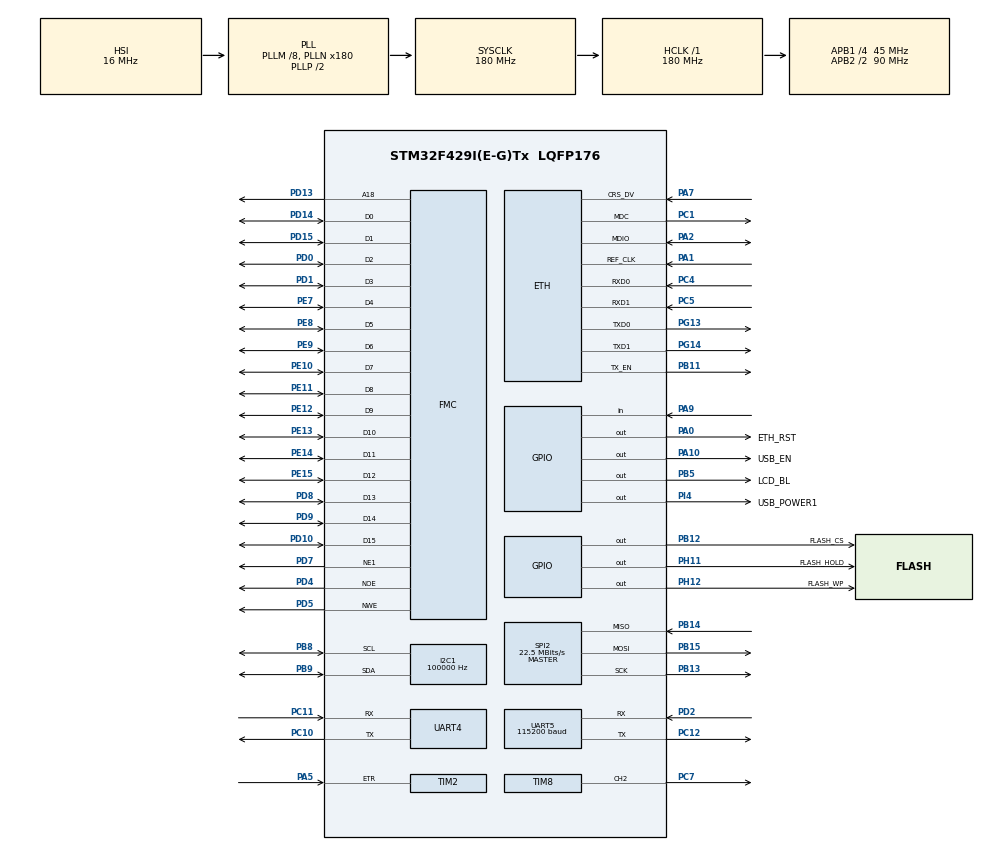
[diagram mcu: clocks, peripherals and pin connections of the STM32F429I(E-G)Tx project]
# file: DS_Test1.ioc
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Dma.Request0=SPI2_TX
Dma.Request1=SPI2_RX
Dma.Request2=TIM8_CH2
Dma.SPI2_RX.1.Direction=DMA_PERIPH_TO_MEMORY
Dma.SPI2_RX.1.FIFOMode=DMA_FIFOMODE_ENABLE
Dma.SPI2_RX.1.FIFOThreshold=DMA_FIFO_THRESHOLD_FULL
Dma.SPI2_RX.1.Instance=DMA1_Stream3
Dma.SPI2_RX.1.MemBurst=DMA_MBURST_SINGLE
Dma.SPI2_RX.1.MemDataAlignment=DMA_MDATAALIGN_BYTE
Dma.SPI2_RX.1.MemInc=DMA_MINC_ENABLE
Dma.SPI2_RX.1.Mode=DMA_NORMAL
Dma.SPI2_RX.1.PeriphBurst=DMA_PBURST_SINGLE
Dma.SPI2_RX.1.PeriphDataAlignment=DMA_PDATAALIGN_BYTE
Dma.SPI2_RX.1.PeriphInc=DMA_PINC_DISABLE
Dma.SPI2_RX.1.Priority=DMA_PRIORITY_VERY_HIGH
Dma.SPI2_TX.0.Direction=DMA_MEMORY_TO_PERIPH
Dma.SPI2_TX.0.FIFOMode=DMA_FIFOMODE_ENABLE
Dma.SPI2_TX.0.FIFOThreshold=DMA_FIFO_THRESHOLD_FULL
Dma.SPI2_TX.0.Instance=DMA1_Stream4
Dma.SPI2_TX.0.MemBurst=DMA_MBURST_SINGLE
Dma.SPI2_TX.0.MemDataAlignment=DMA_MDATAALIGN_BYTE
Dma.SPI2_TX.0.MemInc=DMA_MINC_ENABLE
Dma.SPI2_TX.0.Mode=DMA_NORMAL
Dma.SPI2_TX.0.PeriphBurst=DMA_PBURST_SINGLE
Dma.SPI2_TX.0.PeriphDataAlignment=DMA_PDATAALIGN_BYTE
Dma.SPI2_TX.0.PeriphInc=DMA_PINC_DISABLE
Dma.SPI2_TX.0.Priority=DMA_PRIORITY_VERY_HIGH
Dma.TIM8_CH2.2.Direction=DMA_MEMORY_TO_PERIPH
Dma.TIM8_CH2.2.FIFOMode=DMA_FIFOMODE_DISABLE
Dma.TIM8_CH2.2.Instance=DMA2_Stream3
Dma.TIM8_CH2.2.MemDataAlignment=DMA_MDATAALIGN_WORD
Dma.TIM8_CH2.2.MemInc=DMA_MINC_ENABLE
Dma.TIM8_CH2.2.Mode=DMA_CIRCULAR
Dma.TIM8_CH2.2.PeriphDataAlignment=DMA_PDATAALIGN_WORD
Dma.TIM8_CH2.2.PeriphInc=DMA_PINC_DISABLE
Dma.TIM8_CH2.2.Priority=DMA_PRIORITY_VERY_HIGH
ETH.MediaInterface=ETH_MEDIA_INTERFACE_RMII
ETH.PHY_DUPLEX_STATUS=0x0010
ETH.PHY_Name_RMII=userPHY
ETH.PHY_SPEED_STATUS=0x0004
ETH.PHY_SR=0x1F
ETH.PHY_User_Name=LAN8720A
ETH.PhyAddress=0
FMC.AddressSetupTime1=3
FMC.DataSetupTime1=5
FMC.ExtendedAddressSetupTime1=0
FMC.ExtendedDataSetupTime1=4
FMC.ExtendedMode1=FMC_EXTENDED_MODE_ENABLE
FREERTOS.Tasks01=defaultTask,24,1024,StartDefaultTask,Default,NULL,Dynamic,NULL,NULL;PingTask,8,1024,StartPingTask,Default,NULL,Dynamic,NULL,NULL;UartTask,8,1024,StartUartTask,Default,NULL,Dynamic,NULL,NULL;Flash_w25q,8,1024,StartFlash_w25q,Default,NULL,Dynamic,NULL,NULL;AT24C16Start,8,1024,StartAT24C16Start,Default,NULL,Dynamic,NULL,NULL
FREERTOS.configENABLE_FPU=0
FREERTOS.configTOTAL_HEAP_SIZE=125360
I2C1.ClockSpeed=100000
I2C1.I2C_Coeff_DF=0x0
I2C1.I2C_Mode=I2C_Standard
LWIP.GATEWAY_ADDRESS=192.168.003.254
LWIP.IP_ADDRESS=192.168.003.100
LWIP.LWIP_DHCP=0
LWIP.LWIP_HTTPD=0
LWIP.LWIP_IPV6=0
LWIP.LWIP_NETIF_STATUS_CALLBACK=1
LWIP.LWIP_TFTP=1
LWIP.NETMASK_ADDRESS=255.255.255.000
LWIP.TCP_QUEUE_OOSEQ=0
LWIP.TFTP_TIMER_MSECS=50
LWIP.Version=v2.1.2_Cube
Mcu.Family=STM32F4
Mcu.Name=STM32F429I(E-G)Tx
Mcu.Package=LQFP176
NVIC.DMA1_Stream3_IRQn=true\:6\:0\:true\:false\:true\:true\:false\:true
NVIC.DMA1_Stream4_IRQn=true\:10\:0\:true\:false\:true\:true\:false\:true
NVIC.DMA2_Stream3_IRQn=true\:11\:0\:true\:false\:true\:true\:false\:true
NVIC.ETH_IRQn=true\:5\:0\:false\:false\:true\:true\:false\:true
NVIC.PriorityGroup=NVIC_PRIORITYGROUP_4
NVIC.TIM1_UP_TIM10_IRQn=true\:15\:0\:false\:false\:true\:false\:false\:true
NVIC.TIM8_CC_IRQn=true\:5\:0\:false\:false\:true\:true\:true\:true
NVIC.TimeBase=TIM1_UP_TIM10_IRQn
NVIC.TimeBaseIP=TIM1
PA0/WKUP.GPIO_Label=ETH_RST
PA0/WKUP.GPIO_PuPd=GPIO_NOPULL
PA0/WKUP.Signal=GPIO_Output
PA1.Mode=RMII
PA1.Signal=ETH_REF_CLK
PA10.GPIO_Label=USB_EN
PA10.GPIO_PuPd=GPIO_PULLUP
PA10.Signal=GPIO_Output
PA13.Mode=Serial_Wire
PA13.Signal=SYS_JTMS-SWDIO
PA14.Mode=Serial_Wire
PA14.Signal=SYS_JTCK-SWCLK
PA2.Mode=RMII
PA2.Signal=ETH_MDIO
PA5.Signal=S_TIM2_CH1_ETR
PA7.Mode=RMII
PA7.Signal=ETH_CRS_DV
PA9.Signal=GPIO_Input
PB11.Mode=RMII
PB11.Signal=ETH_TX_EN
PB12.GPIO_Label=FLASH_CS
PB12.Signal=GPIO_Output
PB13.GPIO_PuPd=GPIO_NOPULL
PB13.Mode=Full_Duplex_Master
PB13.Signal=SPI2_SCK
PB14.GPIO_PuPd=GPIO_NOPULL
PB14.Mode=Full_Duplex_Master
PB14.Signal=SPI2_MISO
PB15.GPIO_PuPd=GPIO_NOPULL
PB15.Mode=Full_Duplex_Master
PB15.Signal=SPI2_MOSI
PB5.GPIO_Label=LCD_BL
PB5.Signal=GPIO_Output
PB8.Mode=I2C
PB8.Signal=I2C1_SCL
PB9.Mode=I2C
PB9.Signal=I2C1_SDA
PC1.Mode=RMII
PC1.Signal=ETH_MDC
PC10.Mode=Asynchronous
PC10.Signal=UART4_TX
PC11.Mode=Asynchronous
PC11.Signal=UART4_RX
PC12.Mode=Asynchronous
PC12.Signal=UART5_TX
PC14/OSC32_IN.Mode=LSE-External-Oscillator
PC14/OSC32_IN.Signal=RCC_OSC32_IN
PC15/OSC32_OUT.Mode=LSE-External-Oscillator
PC15/OSC32_OUT.Signal=RCC_OSC32_OUT
PC4.Mode=RMII
PC4.Signal=ETH_RXD0
PC5.Mode=RMII
PC5.Signal=ETH_RXD1
PC7.GPIO_PuPd=GPIO_PULLDOWN
PC7.GPIO_Speed=GPIO_SPEED_FREQ_VERY_HIGH
PC7.Signal=S_TIM8_CH2
PD0.Signal=FMC_D2_DA2
PD1.Signal=FMC_D3_DA3
PD10.Signal=FMC_D15_DA15
PD13.Signal=FMC_A18
PD14.Signal=FMC_D0_DA0
PD15.Signal=FMC_D1_DA1
PD2.Mode=Asynchronous
PD2.Signal=UART5_RX
PD4.Signal=FMC_NOE
PD5.Signal=FMC_NWE
PD7.Mode=NorPsramChipSelect1_1
PD7.Signal=FMC_NE1
PD8.Signal=FMC_D13_DA13
PD9.Signal=FMC_D14_DA14
PE10.Signal=FMC_D7_DA7
PE11.Signal=FMC_D8_DA8
PE12.Signal=FMC_D9_DA9
PE13.Signal=FMC_D10_DA10
PE14.Signal=FMC_D11_DA11
PE15.Signal=FMC_D12_DA12
PE7.Signal=FMC_D4_DA4
PE8.Signal=FMC_D5_DA5
PE9.Signal=FMC_D6_DA6
PG13.Mode=RMII
PG13.Signal=ETH_TXD0
PG14.Mode=RMII
PG14.Signal=ETH_TXD1
PH0/OSC_IN.Mode=HSE-External-Oscillator
PH0/OSC_IN.Signal=RCC_OSC_IN
PH1/OSC_OUT.Mode=HSE-External-Oscillator
PH1/OSC_OUT.Signal=RCC_OSC_OUT
PH11.GPIO_Label=FLASH_HOLD
PH11.PinState=GPIO_PIN_SET
PH11.Signal=GPIO_Output
PH12.GPIO_Label=FLASH_WP
PH12.GPIO_PuPd=GPIO_PULLUP
PH12.GPIO_Speed=GPIO_SPEED_FREQ_HIGH
PH12.PinState=GPIO_PIN_SET
PH12.Signal=GPIO_Output
PI4.GPIO_Label=USB_POWER1
PI4.GPIO_PuPd=GPIO_PULLDOWN
PI4.Signal=GPIO_Output
ProjectManager.HeapSize=0x200
ProjectManager.StackSize=0x400
ProjectManager.TargetToolchain=STM32CubeIDE
RCC.48MHZClocksFreq_Value=90000000
RCC.AHBFreq_Value=180000000
RCC.APB1CLKDivider=RCC_HCLK_DIV4
RCC.APB1Freq_Value=45000000
RCC.APB1TimFreq_Value=90000000
RCC.APB2CLKDivider=RCC_HCLK_DIV2
RCC.APB2Freq_Value=90000000
RCC.APB2TimFreq_Value=180000000
RCC.CortexFreq_Value=180000000
RCC.HCLKFreq_Value=180000000
RCC.HSE_VALUE=25000000
RCC.HSI_VALUE=16000000
RCC.PLLM=8
RCC.PLLN=180
RCC.SYSCLKFreq_VALUE=180000000
RCC.SYSCLKSource=RCC_SYSCLKSOURCE_PLLCLK
RCC.VCOOutputFreq_Value=360000000
SH.FMC_A18.0=FMC_A18,A18_1
SH.FMC_D0_DA0.0=FMC_D0,16b-d1
SH.FMC_D10_DA10.0=FMC_D10,16b-d1
SH.FMC_D11_DA11.0=FMC_D11,16b-d1
SH.FMC_D12_DA12.0=FMC_D12,16b-d1
SH.FMC_D13_DA13.0=FMC_D13,16b-d1
SH.FMC_D14_DA14.0=FMC_D14,16b-d1
SH.FMC_D15_DA15.0=FMC_D15,16b-d1
SH.FMC_D1_DA1.0=FMC_D1,16b-d1
SH.FMC_D2_DA2.0=FMC_D2,16b-d1
SH.FMC_D3_DA3.0=FMC_D3,16b-d1
SH.FMC_D4_DA4.0=FMC_D4,16b-d1
SH.FMC_D5_DA5.0=FMC_D5,16b-d1
SH.FMC_D6_DA6.0=FMC_D6,16b-d1
SH.FMC_D7_DA7.0=FMC_D7,16b-d1
SH.FMC_D8_DA8.0=FMC_D8,16b-d1
SH.FMC_D9_DA9.0=FMC_D9,16b-d1
SH.FMC_NOE.0=FMC_NOE,Lcd1
SH.FMC_NWE.0=FMC_NWE,Lcd1
SH.S_TIM2_CH1_ETR.0=TIM2_ETR,ClockSourceETR_Mode2
SH.S_TIM8_CH2.0=TIM8_CH2,PWM Generation2 CH2
SPI2.BaudRatePrescaler=SPI_BAUDRATEPRESCALER_2
SPI2.CLKPhase=SPI_PHASE_1EDGE
SPI2.CLKPolarity=SPI_POLARITY_LOW
SPI2.CalculateBaudRate=22.5 MBits/s
SPI2.Direction=SPI_DIRECTION_2LINES
SPI2.Mode=SPI_MODE_MASTER
SPI2.VirtualType=VM_MASTER
TIM2.AutoReloadPreload=TIM_AUTORELOAD_PRELOAD_ENABLE
TIM2.ClockFilter=4
TIM8.AutoReloadPreload=TIM_AUTORELOAD_PRELOAD_ENABLE
TIM8.BreakPolarity=TIM_BREAKPOLARITY_LOW
TIM8.Channel-PWM\ Generation2\ CH2=TIM_CHANNEL_2
TIM8.OCMode_PWM-PWM\ Generation2\ CH2=TIM_OCMODE_PWM2
TIM8.OCPolarity_2=TIM_OCPOLARITY_LOW
TIM8.Period=219
TIM8.Prescaler=0
TIM8.Pulse-PWM\ Generation2\ CH2=0
UART4.VirtualMode=Asynchronous
UART5.BaudRate=115200
UART5.VirtualMode=Asynchronous
VP_FREERTOS_VS_CMSIS_V2.Mode=CMSIS_V2
VP_LWIP_VS_Enabled.Mode=Enabled
VP_SYS_VS_tim1.Mode=TIM1
VP_TIM8_VS_ClockSourceINT.Mode=Internal
board=custom

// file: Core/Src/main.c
/* USER CODE BEGIN Header */
/**
  ******************************************************************************
  * @file           : main.c
  * @brief          : Main program body
  ******************************************************************************
  * @attention
  *
  * <h2><center>&copy; Copyright (c) 2021 STMicroelectronics.
  * All rights reserved.</center></h2>
  *
  * This software component is licensed by ST under BSD 3-Clause license,
  * the "License"; You may not use this file except in compliance with the
  * License. You may obtain a copy of the License at:
  *                        opensource.org/licenses/BSD-3-Clause
  *
  ******************************************************************************
  */
/* USER CODE END Header */
#include "main.h"
#include "cmsis_os.h"
#include "dma.h"
#include "i2c.h"
#include "lwip.h"
#include "spi.h"
#include "tim.h"
#include "usart.h"
#include "gpio.h"
#include "fmc.h"

void SystemClock_Config(void);
void MX_FREERTOS_Init(void);
/* USER CODE BEGIN PFP */
#define UARTDEBUG  1
/* USER CODE END PFP */

/* USER CODE BEGIN 0 */
#if(UARTDEBUG==1)
PUTCHAR_PROTOTYPE
{
//同样USART2改为你的串口
	HAL_UART_Transmit(&huart5, (uint8_t*)&ch,1,HAL_MAX_DELAY);
    return ch;
}
#else
int _write(int file , char *ptr,int len)
{
    int i = 0;
    for(i = 0;i<len;i++)
        ITM_SendChar((*ptr++));
    return len;
}
#endif
/* USER CODE END 0 */

int main(void)
{

  /* MCU Configuration--------------------------------------------------------*/

  /* Reset of all peripherals, Initializes the Flash interface and the Systick. */
  HAL_Init();

  /* Configure the system clock */
  SystemClock_Config();

  /* Initialize all configured peripherals */
  MX_GPIO_Init();
  MX_UART4_Init();
  MX_UART5_Init();
  MX_I2C1_Init();
  MX_SPI2_Init();
  MX_DMA_Init();
  MX_FMC_Init();
  MX_TIM8_Init();
  MX_TIM2_Init();

  /* Init scheduler */
  osKernelInitialize();  /* Call init function for freertos objects (in freertos.c) */
  MX_FREERTOS_Init();
  /* Start scheduler */
  osKernelStart();

  /* We should never get here as control is now taken by the scheduler */
  /* Infinite loop */
  while (1)
  {

  }
}

void SystemClock_Config(void)
{
  RCC_OscInitTypeDef RCC_OscInitStruct = {0};
  RCC_ClkInitTypeDef RCC_ClkInitStruct = {0};

  /** Configure the main internal regulator output voltage
  */
  __HAL_RCC_PWR_CLK_ENABLE();
  __HAL_PWR_VOLTAGESCALING_CONFIG(PWR_REGULATOR_VOLTAGE_SCALE1);
  /** Initializes the RCC Oscillators according to the specified parameters
  * in the RCC_OscInitTypeDef structure.
  */
  RCC_OscInitStruct.OscillatorType = RCC_OSCILLATORTYPE_HSI;
  RCC_OscInitStruct.HSIState = RCC_HSI_ON;
  RCC_OscInitStruct.HSICalibrationValue = RCC_HSICALIBRATION_DEFAULT;
  RCC_OscInitStruct.PLL.PLLState = RCC_PLL_ON;
  RCC_OscInitStruct.PLL.PLLSource = RCC_PLLSOURCE_HSI;
  RCC_OscInitStruct.PLL.PLLM = 8;
  RCC_OscInitStruct.PLL.PLLN = 180;
  RCC_OscInitStruct.PLL.PLLP = RCC_PLLP_DIV2;
  RCC_OscInitStruct.PLL.PLLQ = 4;
  if (HAL_RCC_OscConfig(&RCC_OscInitStruct) != HAL_OK)
  {
    Error_Handler();
  }
  /** Activate the Over-Drive mode
  */
  if (HAL_PWREx_EnableOverDrive() != HAL_OK)
  {
    Error_Handler();
  }
  /** Initializes the CPU, AHB and APB buses clocks
  */
  RCC_ClkInitStruct.ClockType = RCC_CLOCKTYPE_HCLK|RCC_CLOCKTYPE_SYSCLK
                              |RCC_CLOCKTYPE_PCLK1|RCC_CLOCKTYPE_PCLK2;
  RCC_ClkInitStruct.SYSCLKSource = RCC_SYSCLKSOURCE_PLLCLK;
  RCC_ClkInitStruct.AHBCLKDivider = RCC_SYSCLK_DIV1;
  RCC_ClkInitStruct.APB1CLKDivider = RCC_HCLK_DIV4;
  RCC_ClkInitStruct.APB2CLKDivider = RCC_HCLK_DIV2;

  if (HAL_RCC_ClockConfig(&RCC_ClkInitStruct, FLASH_LATENCY_5) != HAL_OK)
  {
    Error_Handler();
  }
}

void HAL_TIM_PeriodElapsedCallback(TIM_HandleTypeDef *htim)
{
  if (htim->Instance == TIM1) {
    HAL_IncTick();
  }
}

void Error_Handler(void)
{
  __disable_irq();
  while (1)
  {
  }
}

/************************ (C) COPYRIGHT STMicroelectronics *****END OF FILE****/

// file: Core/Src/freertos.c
/* USER CODE BEGIN Header */
/**
  ******************************************************************************
  * File Name          : freertos.c
  * Description        : Code for freertos applications
  ******************************************************************************
  * @attention
  *
  * <h2><center>&copy; Copyright (c) 2021 STMicroelectronics.
  * All rights reserved.</center></h2>
  *
  * This software component is licensed by ST under Ultimate Liberty license
  * SLA0044, the "License"; You may not use this file except in compliance with
  * the License. You may obtain a copy of the License at:
  *                             www.st.com/SLA0044
  *
  ******************************************************************************
  */
/* USER CODE END Header */

#include "FreeRTOS.h"
#include "task.h"
#include "main.h"
#include "cmsis_os.h"

/* USER CODE BEGIN Includes */
#include "lwip/opt.h"
#include "lwip/sys.h"
#include "lwip/api.h"
#include "lwip/sockets.h"
#include "string.h"

 #include <stdio.h>
#include "DS_INA226.h"
#include "w25qxx.h"
#include "at24c16.h"
#include "lcd.h"
#include "bosmfc.h"

/* USER CODE END Includes */

/* USER CODE BEGIN PD */
#define PORT   5001
#define IP_ADDR  "192.168.3.100"
#define RECV_DATA 256
/* USER CODE END PD */

/* USER CODE BEGIN PM */
#ifndef LOGO_W
#define LOGO_W	480
#endif
#ifndef LOGO_H
#define LOGO_H	799
#endif

/* USER CODE END PM */

/* Definitions for defaultTask */
osThreadId_t defaultTaskHandle;
const osThreadAttr_t defaultTask_attributes = {
  .name = "defaultTask",
  .stack_size = 1024 * 4,
  .priority = (osPriority_t) osPriorityNormal,
};
/* Definitions for PingTask */
osThreadId_t PingTaskHandle;
const osThreadAttr_t PingTask_attributes = {
  .name = "PingTask",
  .stack_size = 1024 * 4,
  .priority = (osPriority_t) osPriorityLow,
};
/* Definitions for UartTask */
osThreadId_t UartTaskHandle;
const osThreadAttr_t UartTask_attributes = {
  .name = "UartTask",
  .stack_size = 1024 * 4,
  .priority = (osPriority_t) osPriorityLow,
};
/* Definitions for Flash_w25q */
osThreadId_t Flash_w25qHandle;
const osThreadAttr_t Flash_w25q_attributes = {
  .name = "Flash_w25q",
  .stack_size = 1024 * 4,
  .priority = (osPriority_t) osPriorityLow,
};
/* Definitions for AT24C16Start */
osThreadId_t AT24C16StartHandle;
const osThreadAttr_t AT24C16Start_attributes = {
  .name = "AT24C16Start",
  .stack_size = 1024 * 4,
  .priority = (osPriority_t) osPriorityLow,
};

/* USER CODE BEGIN FunctionPrototypes */
void client(void);

/* USER CODE END FunctionPrototypes */

void StartDefaultTask(void *argument);
void StartPingTask(void *argument);
void StartUartTask(void *argument);
void StartFlash_w25q(void *argument);
void StartAT24C16Start(void *argument);

extern void MX_LWIP_Init(void);
void MX_FREERTOS_Init(void); /* (MISRA C 2004 rule 8.1) */

void MX_FREERTOS_Init(void) {
  /* USER CODE BEGIN Init */
	LCD_Init();					//初始化LCD
	LCD_Display_Dir(0);//竖屏显示刷背�?????
	W25qxx_Init();
#if (_W25QXX_DEBUG_Read==1)
	  uint16_t i,j;
	  uint8_t rBuff[2]="";
	  uint32_t rnumber=0;
	  for(i=0;i<LOGO_H;i++)
		  {
			LCD_SetCursor(0,i);   	//设置光标位置
			LCD_WriteRAM_Prepare();     //�???????????????????????????????始写入GRAM
				for(j=0;j<LOGO_W;j++)
				{

					//LCD->LCD_RAM=sky_animation_mask[i*799+j];
			/*		image=i*799+j;
				// printf("\r\n>>>>>>sky_animation_mask= 0x%hx\r\n",sky_animation_mask[image]);
				 printf("\r\n\r\n\r\nimage %d\r\n",(int)image);

				 wBuff[0] = sky_animation_mask[image];
				 wBuff[1] = (sky_animation_mask[image]>>8);
		 // printf("\r\n wBuffL= 0x%x  wBuffH= 0x%x\r\n",wBuff[0],wBuff[1]);

		  W25qxx_WriteByte(wBuff[0],rnumber);
		  W25qxx_WriteByte(wBuff[1],rnumber+1);
		  */
		  W25qxx_ReadByte(&rBuff[0],rnumber);
		  W25qxx_ReadByte(&rBuff[1],rnumber+1);
			// printf(" rBuffL=%x rBuffH= 0x%x \r\n",rBuff[0],rBuff[1]);
		  uint16_t readflash16hex;
		  readflash16hex=rBuff[1];
		  readflash16hex=((readflash16hex<<8)+rBuff[0]);
		  LCD->LCD_RAM=readflash16hex;
		//	 printf("\r\nrnumber %d\r\n",rnumber);
		//	 printf("\r\n>>>>>>readflash16hex= 0x%hx\r\n",readflash16hex);

			 rnumber=rnumber+2;

				}
		  }

#elif(_W25QXX_DEBUG_Write==0)
  LCD_Color_Fill(1,1,LOGO_W,LOGO_H,(uint16_t*)sky_animation_mask); //指定区域填充色块（color为色块数组）
//  LCD_ShowString(250,240,200,32,32,"DS STM32F4/F7",1);
#endif
  /* USER CODE END Init */

  /* Create the thread(s) */
  /* creation of defaultTask */
  defaultTaskHandle = osThreadNew(StartDefaultTask, NULL, &defaultTask_attributes);

  /* creation of PingTask */
  PingTaskHandle = osThreadNew(StartPingTask, NULL, &PingTask_attributes);

  /* creation of UartTask */
  UartTaskHandle = osThreadNew(StartUartTask, NULL, &UartTask_attributes);

  /* creation of Flash_w25q */
  Flash_w25qHandle = osThreadNew(StartFlash_w25q, NULL, &Flash_w25q_attributes);

  /* creation of AT24C16Start */
  AT24C16StartHandle = osThreadNew(StartAT24C16Start, NULL, &AT24C16Start_attributes);

}

void StartDefaultTask(void *argument)
{
  /* init code for LWIP */
  MX_LWIP_Init();
  /* USER CODE BEGIN StartDefaultTask */
  /* USER CODE BEGIN 5 */
    /* Infinite loop */
  	int sock = -1, connected;
  	char *recv_data;
  	struct sockaddr_in server_addr, client_addr;
  	socklen_t sin_size;
  	int recv_data_len;

  	recv_data = (char *)pvPortMalloc(RECV_DATA);
  	if(recv_data == NULL)
  	{
  		printf("No memory\n");
  		goto __exit;
  	}

  	sock = socket(AF_INET, SOCK_STREAM, 0);
  	if(sock < 0)
  	{
  		printf("socket error\n");
  	}
  	server_addr.sin_family = AF_INET;
  	server_addr.sin_addr.s_addr = INADDR_ANY;
  	server_addr.sin_port = htons(PORT);
  	memset(&(server_addr.sin_zero), 0, sizeof(server_addr.sin_zero));

  	if(bind(sock, (struct sockaddr *)&server_addr, sizeof(struct sockaddr)) == -1)
  	{
  		printf("unable to bind\n");
  		goto __exit;
  	}

  	listen(sock, 5);

  	while(1)
  	{

  		sin_size = sizeof(struct sockaddr_in);
  		connected = accept(sock, (struct sockaddr *)&client_addr, &sin_size);
  		printf("new client connected from %s, %d\r\n", inet_ntoa(client_addr.sin_addr), ntohs(client_addr.sin_port));

  			int flag = 1;
  			setsockopt(connected, IPPROTO_TCP, TCP_NODELAY, (void *)&flag, sizeof(int));

  		while(1)
  		{
  			recv_data_len = recv(connected, recv_data, RECV_DATA, 0);

  			if(recv_data_len <= 0)
  				break;
  			printf("recv %d len data\r\n", recv_data_len);
  			write(connected, recv_data, recv_data_len);
  		}
  		if(connected >= 0)
  			closesocket(connected);
  		connected = -1;
  	}

  __exit:
  	if(recv_data) free(recv_data);
  	if(sock >= 0)  closesocket(sock);

  	vTaskDelete(defaultTaskHandle);
    /* USER CODE END 5 */
  /* USER CODE END StartDefaultTask */
}

/* USER CODE BEGIN Header_StartPingTask */
/**
* @brief Function implementing the PingTask thread.
* @param argument: Not used
* @retval None
*/
uint8_t RGBvalve[]="",RGB_current[]="";
float val_float;
float current_float;
/* USER CODE END Header_StartPingTask */
void StartPingTask(void *argument)
{
  /* USER CODE BEGIN StartPingTask */
	  /* Infinite loop */
	extern I2C_HandleTypeDef hi2c1;

	INA226_setConfig(&hi2c1, INA226_ADDRESS, INA226_MODE_CONT_SHUNT_AND_BUS | INA226_VBUS_140uS | INA226_VBUS_140uS | INA226_AVG_1024);
	INA226_setCalibrationReg(&hi2c1, INA226_ADDRESS, INA226_CALIB_VAL);
	/*SY6288 enable*/
	HAL_GPIO_WritePin(USB_EN_GPIO_Port, USB_EN_Pin, GPIO_PIN_RESET);//closed USB—�?�VBUS1电源
	HAL_GPIO_WritePin(USB_POWER1_GPIO_Port, USB_POWER1_Pin, GPIO_PIN_SET);//打开USB—�?�VBUS2电源
	  for(;;)
	  {
		  val_float= INA226_getBusV(&hi2c1, INA226_ADDRESS);
		  val_float=(val_float*1.25/1000);
		  sprintf(RGBvalve, "%3f", val_float);
		  printf(RGBvalve);
		  current_float=INA226_getCurrent(&hi2c1, INA226_ADDRESS);
		  current_float=(current_float*0.02);
		  sprintf(RGB_current, "%3f", current_float);
		  printf(RGB_current);

	   osDelay(100);
	  }
  /* USER CODE END StartPingTask */
}

void StartUartTask(void *argument)
{
  /* USER CODE BEGIN StartUartTask */
  /* Infinite loop */

	//	lcdtest();
  for(;;)
  {

	  //client();
	  printf("StartLCDTask\r\n");
    osDelay(100);
  }
  /* USER CODE END StartUartTask */
}

void StartFlash_w25q(void *argument)
{
  /* USER CODE BEGIN StartFlash_w25q */
	// W25qxx_Init();

	 // W25qxx_EraseSector(0);// erase page 0~15;

	 printf("\r\n note:w25qxx EraseSector_page_is_0-15\r\n");

	  //write the picture into the extern flash

#if (_W25QXX_DEBUG_Write==1)
		 W25qxx_EraseChip();
	 uint16_t i,j;
	 uint8_t wBuff[2]="";
	 uint32_t image,rnumber=0;
	  for(i=0;i<LOGO_H;i++)
	  {
			for(j=0;j<LOGO_W;j++)
			{
//LCD->LCD_RAM=sky_animation_mask[i*LOGO_W+j];

				image=i*LOGO_W+j;
		//	 printf("\r\n>>>>>>sky_animation_mask= 0x%hx\r\n",sky_animation_mask[image]);
		//	 printf("\r\n\r\n\r\nimage %d\r\n",(int)image);
			// printf("\r\nrnumber %d\r\n",rnumber);
			 wBuff[0] = sky_animation_mask[image];
			 wBuff[1] = (sky_animation_mask[image]>>8);
	 printf("\r\nrnumber %d\r\n",rnumber);
	//  printf("\r\n wBuffL= 0x%x  wBuffH= 0x%x\r\n",wBuff[0],wBuff[1]);

	  W25qxx_WriteByte(wBuff[0],rnumber);
	  W25qxx_WriteByte(wBuff[1],rnumber+1);
/*
	  W25qxx_ReadByte(&rBuff[0],rnumber);
	  W25qxx_ReadByte(&rBuff[1],rnumber+1);
		// printf(" rBuffL=%x rBuffH= 0x%x \r\n",rBuff[0],rBuff[1]);
		 readflash16hex=rBuff[1];
		readflash16hex=((readflash16hex<<8)+rBuff[0]);
	LCD->LCD_RAM=readflash16hex;

	  printf("\r\n>>>>>>readflash16hex= 0x%hx\r\n",readflash16hex);
	  */
		 rnumber=rnumber+2;

			}
	  }

#endif
printf("\r\n >>>>>:w25qxx Write_done 0-15\r\n");
  /* Infinite loop */
  for(;;)
  {

	  printf("\r\n >>>>>:w25qxx Write_done 0-15\r\n");
	//  vW25qx_Read(rBuff,0,66530);
	//  printf("\r\nlooprBuff=%x\r\\n",rBuff);
    osDelay(1000);
  }
  /* USER CODE END StartFlash_w25q */
}

/* USER CODE BEGIN Header_StartAT24C16Start */
/**
* @brief Function implementing the AT24C16Start thread.
* @param argument: Not used
* @retval None
*/
extern uint8_t pulse;
uint8_t resultflag;

/* USER CODE END Header_StartAT24C16Start */
void StartAT24C16Start(void *argument)
{
  /* USER CODE BEGIN StartAT24C16Start */
  /* Infinite loop */
ws2812_init(LED_NUMS);//5050串行通讯时序要求很严，注意供电电源，必须稳定，不然无法点�????????????????5050LED
  for(;;)
  {

if((current_float>10)||(RGB_FIXTRUE==1))
{

ws2812_example();
//item 1 display
if( rgbset.R==1)
#ifdef LBX_1250B_C_V12
#elif defined  LBX_1250B_E_V12
	LCD_ShowString(170,87,200,16,16,">set_6*10_R>>>>",1);
#elif defined LBX_1250B_C_D_V11
LCD_ShowString(170,87,200,16,16,">set_4*30_R>>>>",1);
#elif defined LBX_1250A_C_V11
LCD_ShowString(170,87,200,16,16,">set_12*6_R>>>>",1);
#elif defined LBX_1250B_F_V12
LCD_ShowString(170,87,200,16,16,">set_4*10_R>>>>",1);
#elif defined LBX_1250C_B_V12
LCD_ShowString(170,87,200,16,16,">set_20*6_R>>>>",1);
#endif
else LCD_ShowString(170,87,150,16,16,">no_R_led_input",1);
if (rgbset.G==1)
#ifdef LBX_1250B_C_V12
#elif defined  LBX_1250B_E_V12
	LCD_ShowString(170,126,200,16,16,">set_6*10_G>>>>",1);
#elif defined LBX_1250B_C_D_V11
	LCD_ShowString(170,126,200,16,16,">set_4*30_G>>>>",1);
#elif defined LBX_1250A_C_V11
	LCD_ShowString(170,126,200,16,16,">set_12*6_G>>>>",1);
#elif defined LBX_1250B_F_V12
	LCD_ShowString(170,126,200,16,16,">set_4*10_G>>>>",1);
#elif defined LBX_1250C_B_V12
	LCD_ShowString(170,126,200,16,16,">set_20*6_G>>>>",1);
#endif
else LCD_ShowString(170,126,150,16,16,">no_G_led_input",1);
if (rgbset.B==1)
#ifdef LBX_1250B_C_V12
#elif defined  LBX_1250B_E_V12
	LCD_ShowString(170,167,200,16,16,">set_6*10_B>>>>",1);
#elif defined LBX_1250B_C_D_V11
	LCD_ShowString(170,167,200,16,16,">set_4*30_B>>>>",1);
#elif defined LBX_1250A_C_V11
	LCD_ShowString(170,167,200,16,16,">set_12*6_B>>>>",1);
#elif defined LBX_1250B_F_V12
	LCD_ShowString(170,167,200,16,16,">set_4*10_B>>>>",1);
#elif defined LBX_1250C_B_V12
	LCD_ShowString(170,167,200,16,16,">set_20*6_B>>>>",1);
#endif
else LCD_ShowString(170,167,150,16,16,">no_B_led_input",1);
// item 2 display
LCD_ShowString(180,287,60,24,24,RGBvalve,1);
LCD_ShowString(180,329,60,24,24,RGB_current,1);

if(((VALTAGE_MIN<((uint8_t)val_float))&&((uint8_t)val_float)<VALTAGE_MAX)) LCD_ShowString(373,287,60,24,24,"PASS",1);
else LCD_ShowString(373,287,60,24,24,"FAIL",1);

if(((CURRENT_MIN<(uint8_t)current_float)&&((uint8_t)current_float)<CURRENT_MAX)) LCD_ShowString(373,328,60,24,24,"PASS",1);
else LCD_ShowString(373,328,60,24,24,"FAIL",1);

resultflag++;
if(	resultflag==1)
{
LCD_ShowBigString(156,566,400,148,148,"%&'(",BIGWORD_ClEARCOLOR,1);//注意这里是用字符代替显示内容，因为flash不够无需导入多余的字符显示，真正的数据为"FAILED"对应的数据标�?????
//for(uint8_t i=40;i<50;i++)
LCD_Draw_Circle(270,650,50);

}
if(	resultflag>=3)//delay(1S) Display result time for reset testing;
{resultflag=0;
//item 3display
uint8_t pulsenumber[1]="0";
sprintf(pulsenumber, "%2d", pulse);
LCD_ShowString(257,430,32,32,32,pulsenumber,1);
if(pulse==PULSE_DOUT) LCD_ShowString(257,471,100,32,32,"PASS",1);
else LCD_ShowString(257,471,100,32,32,"FAIL",1);
if((pulse%2)&&(((VALTAGE_MIN<((uint8_t)val_float))&&((uint8_t)val_float)<VALTAGE_MAX))&&(((CURRENT_MIN<(uint8_t)current_float)&&((uint8_t)current_float)<CURRENT_MAX)))//判断输出脉冲Dout=2,电流90ma<current<110ma,电压3v<valtage<6V
LCD_ShowBigString(156,566,230,148,148," !#$",BIGWORD_GREENCOLOR,1);// !"#$�?????注意这里是用字符代替显示内容，因为flash不够无需导入多余的字符显示，其真正的数据�?????"PASS"对应的数据标�?????
else
LCD_ShowBigString(156,566,230,148,148,"%&'(",BIGWORD_REDCOLOR,1);//注意这里是用字符代替显示内容，因为flash不够无需导入多余的字符显示，真正的数据为"FAILED"对应的数据标�?????
pulse=0;

while(current_float>10);

}

}
else
{
LCD_ShowString(257,430,32,32,32,"   ",1);
LCD_ShowBigString(156,566,400,148,148,"%&'(",BIGWORD_ClEARCOLOR,1);//注意这里是用字符代替显示内容，因为flash不够无需导入多余的字符显示，真正的数据为"FAILED"对应的数据标�?????
LCD_ShowBigString(155,562,400,148,148,"%&'(",BIGWORD_ClEARCOLOR,1);//注意这里是用字符代替显示内容，因为flash不够无需导入多余的字符显示，真正的数据为"FAILED"对应的数据标�?????
rgbset.R=0;
rgbset.G=0;
rgbset.B=0;
resultflag=0;
}

// vE2romTest();
    osDelay(2);
  }
  /* USER CODE END StartAT24C16Start */
}

/* USER CODE BEGIN Application */
void client(void)
{
		{
			int sock = -1;
			struct sockaddr_in client_addr;
			uint8_t send_buf[] = "This is a TCP client test \r\n";

			while(1)
			{
				sock = socket(AF_INET, SOCK_STREAM, 0);
				if(sock < 0)
				{
					osDelay(10);
					continue;
				}
				client_addr.sin_family = AF_INET;
				client_addr.sin_port = htons(PORT);
				client_addr.sin_addr.s_addr = inet_addr(IP_ADDR);
				memset(&(client_addr.sin_zero), 0, sizeof(client_addr.sin_zero));

				if(connect(sock, (struct sockaddr*)&client_addr, sizeof(struct sockaddr)) == -1)
				{
					printf("connect failed \r\n");
					closesocket(sock);
					osDelay(10);
					continue;
				}
				printf("connect to iperf server successful!\n");

				while(1)
				{
					if(write(sock, send_buf, sizeof(send_buf)) < 0)
						break;
					osDelay(10);
				}
				closesocket(sock);
			}
		}
}
/* USER CODE END Application */

/************************ (C) COPYRIGHT STMicroelectronics *****END OF FILE****/
